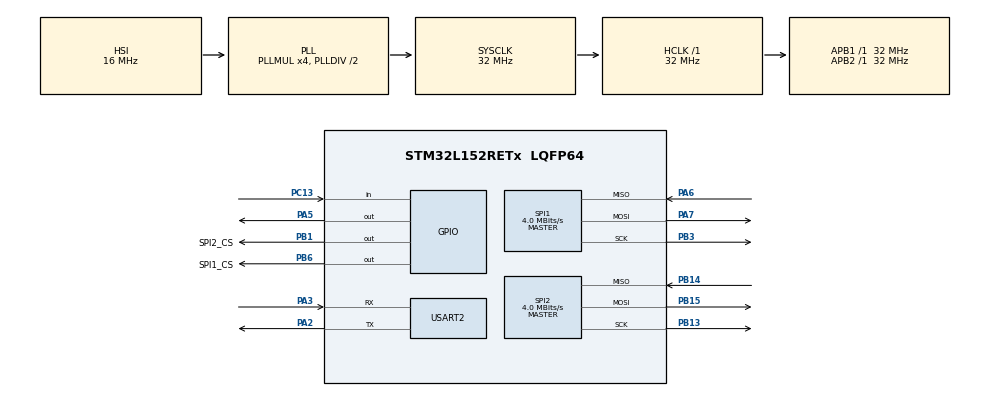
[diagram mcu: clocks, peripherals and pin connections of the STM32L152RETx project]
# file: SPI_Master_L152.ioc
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Mcu.Family=STM32L1
Mcu.Name=STM32L152RETx
Mcu.Package=LQFP64
NVIC.PriorityGroup=NVIC_PRIORITYGROUP_4
PA13.Mode=Serial_Wire
PA13.Signal=SYS_JTMS-SWDIO
PA14.Mode=Serial_Wire
PA14.Signal=SYS_JTCK-SWCLK
PA2.Mode=Asynchronous
PA2.Signal=USART2_TX
PA3.Mode=Asynchronous
PA3.Signal=USART2_RX
PA5.Signal=GPIO_Output
PA6.Mode=Full_Duplex_Master
PA6.Signal=SPI1_MISO
PA7.Mode=Full_Duplex_Master
PA7.Signal=SPI1_MOSI
PB1.GPIO_Label=SPI2_CS
PB1.Signal=GPIO_Output
PB13.GPIO_PuPd=GPIO_PULLDOWN
PB13.GPIO_Speed=GPIO_SPEED_FREQ_MEDIUM
PB13.Mode=Full_Duplex_Master
PB13.Signal=SPI2_SCK
PB14.GPIO_PuPd=GPIO_PULLDOWN
PB14.GPIO_Speed=GPIO_SPEED_FREQ_MEDIUM
PB14.Mode=Full_Duplex_Master
PB14.Signal=SPI2_MISO
PB15.GPIO_PuPd=GPIO_PULLDOWN
PB15.GPIO_Speed=GPIO_SPEED_FREQ_MEDIUM
PB15.Mode=Full_Duplex_Master
PB15.Signal=SPI2_MOSI
PB3.Mode=Full_Duplex_Master
PB3.Signal=SPI1_SCK
PB6.GPIO_Label=SPI1_CS
PB6.Signal=GPIO_Output
PC13-WKUP2.Signal=GPIO_Input
PH0-OSC_IN.Mode=HSE-External-Clock-Source
PH0-OSC_IN.Signal=RCC_OSC_IN
ProjectManager.HeapSize=0x200
ProjectManager.StackSize=0x400
ProjectManager.TargetToolchain=STM32CubeIDE
RCC.48MHZClocksFreq_Value=32000000
RCC.AHBFreq_Value=32000000
RCC.APB1Freq_Value=32000000
RCC.APB1TimFreq_Value=32000000
RCC.APB2Freq_Value=32000000
RCC.APB2TimFreq_Value=32000000
RCC.HCLKFreq_Value=32000000
RCC.HSE_VALUE=8000000
RCC.HSI_VALUE=16000000
RCC.LSE_VALUE=32768
RCC.MSI_VALUE=2097000
RCC.PLLMUL=RCC_PLL_MUL4
RCC.SYSCLKFreq_VALUE=32000000
RCC.SYSCLKSource=RCC_SYSCLKSOURCE_PLLCLK
RCC.VCOOutputFreq_Value=64000000
SPI1.BaudRatePrescaler=SPI_BAUDRATEPRESCALER_8
SPI1.CalculateBaudRate=4.0 MBits/s
SPI1.Direction=SPI_DIRECTION_2LINES
SPI1.Mode=SPI_MODE_MASTER
SPI1.VirtualType=VM_MASTER
SPI2.BaudRatePrescaler=SPI_BAUDRATEPRESCALER_8
SPI2.CalculateBaudRate=4.0 MBits/s
SPI2.Direction=SPI_DIRECTION_2LINES
SPI2.Mode=SPI_MODE_MASTER
SPI2.VirtualType=VM_MASTER
USART2.VirtualMode=VM_ASYNC
board=custom

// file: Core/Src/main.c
/* USER CODE BEGIN Header */
/**
  ******************************************************************************
  * @file           : main.c
  * @brief          : Main program body
  ******************************************************************************
  * @attention
  *
  * Copyright (c) 2026 STMicroelectronics.
  * All rights reserved.
  *
  * This software is licensed under terms that can be found in the LICENSE file
  * in the root directory of this software component.
  * If no LICENSE file comes with this software, it is provided AS-IS.
  *
  ******************************************************************************
  */
/* USER CODE END Header */
#include "main.h"

/* USER CODE BEGIN Includes */
#include "msp.h"

/* USER CODE END Includes */

/* USER CODE BEGIN PTD */
#define TIME_DELAY 20

/* USER CODE END PTD */

/* USER CODE BEGIN PD */
#define CRC32_POLY 0xEDB88320
/* USER CODE END PD */

SPI_HandleTypeDef hspi1;
SPI_HandleTypeDef hspi2;

UART_HandleTypeDef huart2;

/* USER CODE BEGIN PV */

uint32_t CRC_calc = 0;

ModulData_t ModulData;
/* USER CODE END PV */

void SystemClock_Config(void);
static void MX_GPIO_Init(void);
static void MX_SPI2_Init(void);
static void MX_SPI1_Init(void);
static void MX_USART2_UART_Init(void);

/* USER CODE BEGIN 0 */

/* ----------------------------------------------------------------------------
 * CRC-32
 * ---------------------------------------------------------------------------- */
uint32_t calculate_crc32(const void *data, size_t len)
{
    const uint8_t *p = (const uint8_t *)data;
    uint32_t crc = 0xFFFFFFFFu;

    for (size_t i = 0; i < len; i++) {
        crc ^= p[i];
        for (int j = 0; j < 8; j++) {
            crc = (crc & 1) ? (crc >> 1) ^ CRC32_POLY : (crc >> 1);
        }
    }

    return ~crc;
}

// Рандомные значения
void Send_SPI_Random(void)
{
	  SetVelueInStruckt(&ModulData);
	  ModulData.packet.crc32 = calculate_crc32(ModulData.Tx_Buffer, sizeof(ModulData.Tx_Buffer) - 4);

	  HAL_GPIO_WritePin(SPI2_CS_GPIO_Port, SPI2_CS_Pin, RESET);
	  HAL_SPI_Transmit(&hspi2, ModulData.Tx_Buffer , sizeof(ModulData.Tx_Buffer), HAL_MAX_DELAY);
	  HAL_GPIO_WritePin(SPI2_CS_GPIO_Port, SPI2_CS_Pin, SET);

	  HAL_GPIO_WritePin(SPI1_CS_GPIO_Port, SPI1_CS_Pin, RESET);
	  HAL_SPI_Transmit(&hspi1, ModulData.Tx_Buffer , sizeof(ModulData.Tx_Buffer), HAL_MAX_DELAY);
	  HAL_GPIO_WritePin(SPI1_CS_GPIO_Port, SPI1_CS_Pin, SET);
}

//Функция отправки безаварийного кадра
void Send_SPI_ZeroAlarms(void)
{
	  SetVelueInStruckt(&ModulData);
	  ModulData.packet.alarms.raw = (uint16_t)0x0;
	  ModulData.packet.status.raw = (uint16_t)0x0;
	  ModulData.packet.crc32 = calculate_crc32(ModulData.Tx_Buffer, sizeof(ModulData.Tx_Buffer) - 4);
	  HAL_GPIO_WritePin(SPI2_CS_GPIO_Port, SPI2_CS_Pin, RESET);
	  HAL_SPI_Transmit(&hspi2, ModulData.Tx_Buffer , sizeof(ModulData.Tx_Buffer), HAL_MAX_DELAY);
	  HAL_GPIO_WritePin(SPI2_CS_GPIO_Port, SPI2_CS_Pin, SET);

	  HAL_GPIO_WritePin(SPI1_CS_GPIO_Port, SPI1_CS_Pin, RESET);
	  HAL_SPI_Transmit(&hspi1, ModulData.Tx_Buffer , sizeof(ModulData.Tx_Buffer), HAL_MAX_DELAY);
	  HAL_GPIO_WritePin(SPI1_CS_GPIO_Port, SPI1_CS_Pin, SET);
}

/* USER CODE END 0 */

int main(void)
{

  /* MCU Configuration--------------------------------------------------------*/

  /* Reset of all peripherals, Initializes the Flash interface and the Systick. */
  HAL_Init();

  /* Configure the system clock */
  SystemClock_Config();

  /* Initialize all configured peripherals */
  MX_GPIO_Init();
  MX_SPI2_Init();
  MX_SPI1_Init();
  MX_USART2_UART_Init();
  /* USER CODE BEGIN 2 */

  memset(ModulData.Tx_Buffer, 0, sizeof(ModulData.Tx_Buffer));
  SetVelueInStruckt(&ModulData);

  uint8_t uart_tx_buf[100];
  memset(uart_tx_buf, 0x55, sizeof(uart_tx_buf));

  /* USER CODE END 2 */

  /* Infinite loop */
  /* USER CODE BEGIN WHILE */
  while (1)
  {
	  if( (GPIOC->IDR & GPIO_PIN_13) != GPIO_PIN_13)
	  {
		  Send_SPI_Random();
		  HAL_Delay(TIME_DELAY);
	  }else{
		  Send_SPI_ZeroAlarms();
		  HAL_Delay(TIME_DELAY);
	  }

//	  HAL_UART_Transmit(&huart2, uart_tx_buf, sizeof(uart_tx_buf), HAL_MAX_DELAY);
//	  HAL_Delay(1000);

    /* USER CODE END WHILE */

  }
}

void SystemClock_Config(void)
{
  RCC_OscInitTypeDef RCC_OscInitStruct = {0};
  RCC_ClkInitTypeDef RCC_ClkInitStruct = {0};

  /** Configure the main internal regulator output voltage
  */
  __HAL_PWR_VOLTAGESCALING_CONFIG(PWR_REGULATOR_VOLTAGE_SCALE1);

  /** Initializes the RCC Oscillators according to the specified parameters
  * in the RCC_OscInitTypeDef structure.
  */
  RCC_OscInitStruct.OscillatorType = RCC_OSCILLATORTYPE_HSI;
  RCC_OscInitStruct.HSIState = RCC_HSI_ON;
  RCC_OscInitStruct.HSICalibrationValue = RCC_HSICALIBRATION_DEFAULT;
  RCC_OscInitStruct.PLL.PLLState = RCC_PLL_ON;
  RCC_OscInitStruct.PLL.PLLSource = RCC_PLLSOURCE_HSI;
  RCC_OscInitStruct.PLL.PLLMUL = RCC_PLL_MUL4;
  RCC_OscInitStruct.PLL.PLLDIV = RCC_PLL_DIV2;
  if (HAL_RCC_OscConfig(&RCC_OscInitStruct) != HAL_OK)
  {
    Error_Handler();
  }

  /** Initializes the CPU, AHB and APB buses clocks
  */
  RCC_ClkInitStruct.ClockType = RCC_CLOCKTYPE_HCLK|RCC_CLOCKTYPE_SYSCLK
                              |RCC_CLOCKTYPE_PCLK1|RCC_CLOCKTYPE_PCLK2;
  RCC_ClkInitStruct.SYSCLKSource = RCC_SYSCLKSOURCE_PLLCLK;
  RCC_ClkInitStruct.AHBCLKDivider = RCC_SYSCLK_DIV1;
  RCC_ClkInitStruct.APB1CLKDivider = RCC_HCLK_DIV1;
  RCC_ClkInitStruct.APB2CLKDivider = RCC_HCLK_DIV1;

  if (HAL_RCC_ClockConfig(&RCC_ClkInitStruct, FLASH_LATENCY_1) != HAL_OK)
  {
    Error_Handler();
  }
}

static void MX_SPI1_Init(void)
{

  /* SPI1 parameter configuration*/
  hspi1.Instance = SPI1;
  hspi1.Init.Mode = SPI_MODE_MASTER;
  hspi1.Init.Direction = SPI_DIRECTION_2LINES;
  hspi1.Init.DataSize = SPI_DATASIZE_8BIT;
  hspi1.Init.CLKPolarity = SPI_POLARITY_LOW;
  hspi1.Init.CLKPhase = SPI_PHASE_1EDGE;
  hspi1.Init.NSS = SPI_NSS_SOFT;
  hspi1.Init.BaudRatePrescaler = SPI_BAUDRATEPRESCALER_8;
  hspi1.Init.FirstBit = SPI_FIRSTBIT_MSB;
  hspi1.Init.TIMode = SPI_TIMODE_DISABLE;
  hspi1.Init.CRCCalculation = SPI_CRCCALCULATION_DISABLE;
  hspi1.Init.CRCPolynomial = 10;
  if (HAL_SPI_Init(&hspi1) != HAL_OK)
  {
    Error_Handler();
  }

}

static void MX_SPI2_Init(void)
{

  /* SPI2 parameter configuration*/
  hspi2.Instance = SPI2;
  hspi2.Init.Mode = SPI_MODE_MASTER;
  hspi2.Init.Direction = SPI_DIRECTION_2LINES;
  hspi2.Init.DataSize = SPI_DATASIZE_8BIT;
  hspi2.Init.CLKPolarity = SPI_POLARITY_LOW;
  hspi2.Init.CLKPhase = SPI_PHASE_1EDGE;
  hspi2.Init.NSS = SPI_NSS_SOFT;
  hspi2.Init.BaudRatePrescaler = SPI_BAUDRATEPRESCALER_8;
  hspi2.Init.FirstBit = SPI_FIRSTBIT_MSB;
  hspi2.Init.TIMode = SPI_TIMODE_DISABLE;
  hspi2.Init.CRCCalculation = SPI_CRCCALCULATION_DISABLE;
  hspi2.Init.CRCPolynomial = 10;
  if (HAL_SPI_Init(&hspi2) != HAL_OK)
  {
    Error_Handler();
  }

}

static void MX_USART2_UART_Init(void)
{

  huart2.Instance = USART2;
  huart2.Init.BaudRate = 115200;
  huart2.Init.WordLength = UART_WORDLENGTH_8B;
  huart2.Init.StopBits = UART_STOPBITS_1;
  huart2.Init.Parity = UART_PARITY_NONE;
  huart2.Init.Mode = UART_MODE_TX_RX;
  huart2.Init.HwFlowCtl = UART_HWCONTROL_NONE;
  huart2.Init.OverSampling = UART_OVERSAMPLING_16;
  if (HAL_UART_Init(&huart2) != HAL_OK)
  {
    Error_Handler();
  }

}

static void MX_GPIO_Init(void)
{
  GPIO_InitTypeDef GPIO_InitStruct = {0};

  /* GPIO Ports Clock Enable */
  __HAL_RCC_GPIOC_CLK_ENABLE();
  __HAL_RCC_GPIOH_CLK_ENABLE();
  __HAL_RCC_GPIOA_CLK_ENABLE();
  __HAL_RCC_GPIOB_CLK_ENABLE();

  /*Configure GPIO pin Output Level */
  HAL_GPIO_WritePin(GPIOA, GPIO_PIN_5, GPIO_PIN_RESET);

  /*Configure GPIO pin Output Level */
  HAL_GPIO_WritePin(GPIOB, SPI2_CS_Pin|SPI1_CS_Pin, GPIO_PIN_RESET);

  /*Configure GPIO pin : PC13 */
  GPIO_InitStruct.Pin = GPIO_PIN_13;
  GPIO_InitStruct.Mode = GPIO_MODE_INPUT;
  GPIO_InitStruct.Pull = GPIO_NOPULL;
  HAL_GPIO_Init(GPIOC, &GPIO_InitStruct);

  /*Configure GPIO pin : PA5 */
  GPIO_InitStruct.Pin = GPIO_PIN_5;
  GPIO_InitStruct.Mode = GPIO_MODE_OUTPUT_PP;
  GPIO_InitStruct.Pull = GPIO_NOPULL;
  GPIO_InitStruct.Speed = GPIO_SPEED_FREQ_LOW;
  HAL_GPIO_Init(GPIOA, &GPIO_InitStruct);

  /*Configure GPIO pins : SPI2_CS_Pin SPI1_CS_Pin */
  GPIO_InitStruct.Pin = SPI2_CS_Pin|SPI1_CS_Pin;
  GPIO_InitStruct.Mode = GPIO_MODE_OUTPUT_PP;
  GPIO_InitStruct.Pull = GPIO_NOPULL;
  GPIO_InitStruct.Speed = GPIO_SPEED_FREQ_LOW;
  HAL_GPIO_Init(GPIOB, &GPIO_InitStruct);

}

void Error_Handler(void)
{
  __disable_irq();
  while (1)
  {
  }
}
